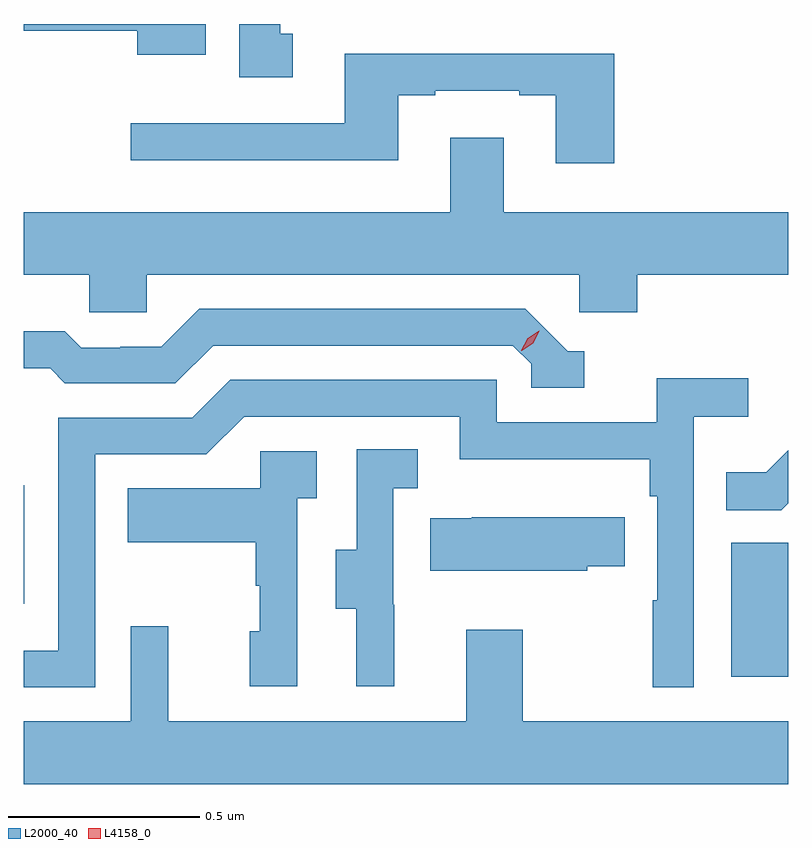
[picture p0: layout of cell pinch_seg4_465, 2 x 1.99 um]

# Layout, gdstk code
import gdstk
lib = gdstk.Library(unit=1e-6, precision=1e-09)
def R(c, l, rs):  # rectangles x0, y0, x1, y1
    for r in rs: c.add(gdstk.rectangle(r[:2], r[2:], *l))
def P(c, l, *ps):  # polygons
    for p in ps: c.add(gdstk.Polygon(p, *l))
L2000_40 = (2000, 40)
L4158_0 = (4158, 0)

pinch_seg4_465 = lib.new_cell('pinch_seg4_465')
R(pinch_seg4_465, L2000_40, [(910.82,777.12,910.969,777.471), (908.969,777.312,908.97,777.622)])
P(pinch_seg4_465, L2000_40, [(909.445,778.828),(908.969,778.828),(908.969,778.81),(909.266,778.81),(909.266,778.748),(909.445,778.748)],
  [(909.673,778.802),(909.64,778.802),(909.64,778.828),(909.533,778.828),(909.533,778.689),(909.673,778.689)],
  [(910.514,778.75),(909.809,778.75),(909.809,778.569),(909.249,778.569),(909.249,778.472),(909.949,778.472),(909.949,778.641),(910.045,778.641),(910.045,778.653),(910.265,778.653),(910.265,778.641),(910.361,778.641),(910.361,778.464),(910.514,778.464)],
  [(909.291,778.172),(910.422,778.172),(910.422,778.074),(910.574,778.074),(910.574,778.172),(910.969,778.172),(910.969,778.336),(910.225,778.336),(910.225,778.531),(910.085,778.531),(910.085,778.336),(908.969,778.336),(908.969,778.172),(909.141,778.172),(909.141,778.074),(909.291,778.074)],
  [(910.435,777.972),(910.392,777.972),(910.281,778.083),(909.428,778.083),(909.329,777.984),(909.222,777.984),(909.222,777.981),(909.119,777.981),(909.077,778.024),(908.969,778.024),(908.969,777.927),(909.038,777.927),(909.077,777.888),(909.366,777.888),(909.465,777.987),(910.248,777.987),(910.296,777.939),(910.296,777.876),(910.435,777.876)],
  [(909.156,777.702),(909.447,777.702),(909.546,777.801),(910.11,777.801),(910.11,777.689),(910.606,777.689),(910.606,777.593),(910.626,777.593),(910.626,777.32),(910.614,777.32),(910.614,777.093),(910.722,777.093),(910.722,777.8),(910.864,777.8),(910.864,777.902),(910.625,777.902),(910.625,777.786),(910.206,777.786),(910.206,777.897),(909.509,777.897),(909.41,777.798),(909.06,777.798),(909.06,777.189),(908.969,777.189),(908.969,777.093),(909.156,777.093)],
  [(909.938,777.309),(909.936,777.309),(909.936,777.613),(910,777.613),(910,777.716),(909.84,777.716),(909.84,777.453),(909.785,777.453),(909.785,777.298),(909.839,777.298),(909.839,777.096),(909.938,777.096)],
  [(910.969,777.574),(910.969,777.713),(910.911,777.655),(910.807,777.655),(910.807,777.556),(910.951,777.556)],
  [(909.684,777.587),(909.736,777.587),(909.736,777.711),(909.588,777.711),(909.588,777.613),(909.241,777.613),(909.241,777.473),(909.576,777.473),(909.576,777.359),(909.586,777.359),(909.586,777.24),(909.56,777.24),(909.56,777.096),(909.684,777.096)],
  [(910.443,777.409),(910.541,777.409),(910.541,777.538),(910.141,777.538),(910.141,777.535),(910.033,777.535),(910.033,777.398),(910.443,777.398)],
  [(910.969,777.004),(910.275,777.004),(910.275,777.244),(910.127,777.244),(910.127,777.004),(909.347,777.004),(909.347,777.253),(909.249,777.253),(909.249,777.004),(908.969,777.004),(908.969,776.84),(910.969,776.84)])
P(pinch_seg4_465, L4158_0, [(910.271,777.973),(910.271,777.974),(910.287,778.006),(910.318,778.026),(910.318,778.026),(910.318,778.026),(910.302,777.993),(910.272,777.973)])

lib.write_gds('pinch_seg4_465.gds')
